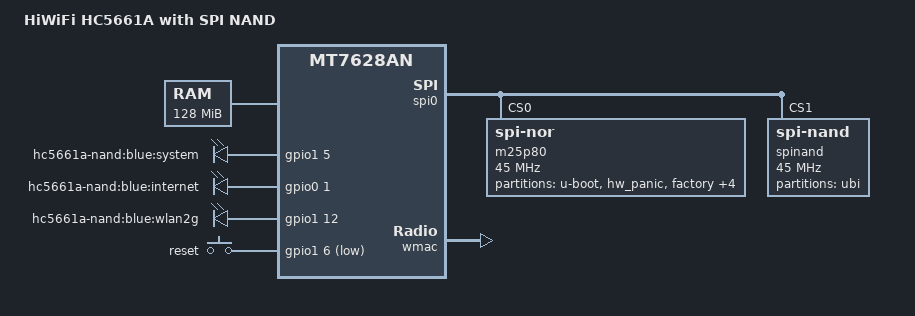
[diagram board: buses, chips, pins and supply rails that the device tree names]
/dts-v1/;

#include "mt7628an.dtsi"

#include <dt-bindings/gpio/gpio.h>
#include <dt-bindings/input/input.h>

/ {
	compatible = "hiwifi,hc5661a-nand", "mediatek,mt7628an-soc";
	model = "HiWiFi HC5661A with SPI NAND";

	aliases {
		led-boot = &led_system;
		led-failsafe = &led_system;
		led-running = &led_system;
		led-upgrade = &led_system;
	};

	chosen {
		bootargs = "console=ttyS0,115200";
	};

	memory@0 {
		device_type = "memory";
		reg = <0x0 0x8000000>;
	};

	gpio-leds {
		compatible = "gpio-leds";

		led_system: system {
			label = "hc5661a-nand:blue:system";
			gpios = <&gpio1 5 GPIO_ACTIVE_HIGH>;
		};
		internet {
			label = "hc5661a-nand:blue:internet";
			gpios = <&gpio0 1 GPIO_ACTIVE_HIGH>;
		};
		wlan2g {
			label = "hc5661a-nand:blue:wlan2g";
			gpios = <&gpio1 12 GPIO_ACTIVE_HIGH>;
		};
	};

	gpio-keys {
		compatible = "gpio-keys-polled";
		poll-interval = <20>;

		reset {
			label = "reset";
			gpios = <&gpio1 6 GPIO_ACTIVE_LOW>;
			linux,code = <KEY_RESTART>;
		};
	};
};

&pinctrl {
	state_default: pinctrl0 {
		gpio {
			ralink,group = "i2c", "refclk", "wled_an";
			ralink,function = "gpio";
		};
	};
};
/*
&sdhci {
	status = "okay";
};
*/
&spi0 {
	status = "okay";
	pinctrl-1 = <&spi_cs1_pins>;

	m25p80@0 {
		compatible = "jedec,spi-nor";
		reg = <0>;
		linux,modalias = "m25p80", "w25q128";
		spi-max-frequency = <45000000>;

		partitions {
			compatible = "fixed-partitions";
			#address-cells = <1>;
			#size-cells = <1>;

			partition@0 {
				label = "u-boot";
				reg = <0x0 0x30000>;
				read-only;
			};

			partition@30000 {
				label = "hw_panic";
				reg = <0x30000 0x10000>;
				read-only;
			};

			factory: partition@40000 {
				label = "factory";
				reg = <0x40000 0x10000>;
				read-only;
			};

			partition@50000 {
				label = "kernel";
				reg = <0x50000 0xf70000>;
			};

			partition@fc0000 {
				label = "oem";
				reg = <0xfc0000 0x20000>;
				read-only;
			};

			bdinfo: partition@fe0000 {
				label = "bdinfo";
				reg = <0xfe0000 0x10000>;
				read-only;
			};

			partition@ff0000 {
				label = "backup";
				reg = <0xff0000 0x10000>;
				read-only;
			};
		};
	};
	spinand@1 {
		compatible = "spi-nand";
		reg = <1>;
		spi-max-frequency = <45000000>;
		partitions {
			compatible = "fixed-partitions";
			#address-cells = <1>;
			#size-cells = <1>;

			partition@0 {
				label = "ubi";
				//exclude the last block which is always read only
				reg = <0x0 0x7fe0000>;
			};
		};
	};
};

&ethernet {
	mtd-mac-address = <&factory 0x4>;
	mediatek,portmap = "wllll";
};

&wmac {
	status = "okay";
};
